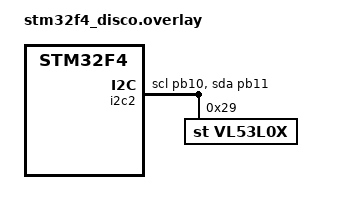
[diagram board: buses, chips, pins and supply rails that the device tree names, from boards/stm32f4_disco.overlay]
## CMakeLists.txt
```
cmake_minimum_required(VERSION 3.20.0)

find_package(Zephyr REQUIRED HINTS $ENV{ZEPHYR_BASE})
project(tof_app)

target_sources(app PRIVATE src/main.c)
```

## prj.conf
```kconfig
CONFIG_I2C=y
CONFIG_PRINTK=y
CONFIG_SERIAL=y
CONFIG_CONSOLE=y
CONFIG_LOG=y
CONFIG_SENSOR=y
CONFIG_VL53L0X=y
```

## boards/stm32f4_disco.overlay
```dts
&i2c2 {
    status = "okay";
	pinctrl-0 = < &i2c2_scl_pb10 &i2c2_sda_pb11 >;
	pinctrl-names = "default";
    
	vl53l0x: vl53l0x@29 {
        compatible = "st,vl53l0x";
        reg = <0x29>;
        label = "VL53L0X";
		status = "okay";
    };    
};
```

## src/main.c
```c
#include <zephyr/kernel.h>
#include <zephyr/device.h>
#include <zephyr/drivers/i2c.h>
#include <zephyr/drivers/sensor.h>
#include <zephyr/sys/printk.h>
#include <string.h>

#define SENSOR_NODE DT_NODELABEL(vl53l0x)

#if !DT_NODE_HAS_STATUS(SENSOR_NODE, okay)
#error "VL53L0X node not enabled in DeviceTree"
#endif

void i2c_scan_bus(const struct device *i2c_dev)
{
    int ret;
    uint8_t addr = 0;
    printk("Scanning I2C bus...\n");

    for (addr = 0x00; addr <= 0xFE; addr++) {
        /* zero-length write = address probe */
        ret = i2c_write(i2c_dev, NULL, 0, addr);
        if (ret == 0) {
            printk("Found device at 0x%02X\n", addr);
        }   
    }   

    printk("Scan done\n");
}

int main(void)
{

    const struct device *dev =  DEVICE_DT_GET(SENSOR_NODE) ;

    /*---- DT_BUS macro can give the bus type which is used by the peripherial ----*/
    static const struct device *i2c_dev = DEVICE_DT_GET(DT_BUS(SENSOR_NODE));

    /*---- Just to check the i2c device address ----*/
    if (!device_is_ready(i2c_dev)) {
        printk("I2C not ready\n");
        return 0;
    }

    i2c_scan_bus(i2c_dev);

    /*---- Check actual sensor is ready or not ----*/
    if (!device_is_ready(dev)) {
        printk("Device is not ready\n");
        return 0;
    }

    printk("VL53L0X ready\n");

    while (1) {
        /*---- For these API look @zephyr/include/zephyr/drivers/sensor.h ----*/
        if (sensor_sample_fetch(dev) < 0) {
            printk("Sample fetch error\n");
            continue;          
        }
        struct sensor_value distance;

        if (sensor_channel_get(dev,
                               SENSOR_CHAN_DISTANCE,
                               &distance) < 0) {
            printk("Channel get error\n");
            continue;
        }

        printk("Distance: %d.%06d m\n",
               distance.val1,
               distance.val2);      
    }
	
	return 0;
}
```
